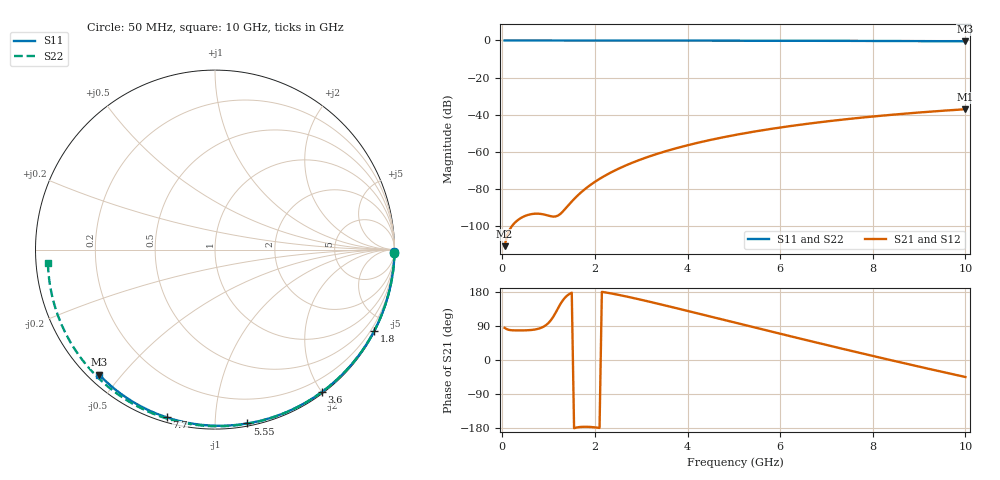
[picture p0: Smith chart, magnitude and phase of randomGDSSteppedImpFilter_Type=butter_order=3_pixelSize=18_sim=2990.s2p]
! freq	dB(S11)	phase(S11)	dB(S12)	phase(S12)
!  dB(S21)	phase(S21)	dB(S22)	phase(S22)
!S-par simulation data
#  GHz  S  DB  R 50
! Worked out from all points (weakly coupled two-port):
!   200 points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, 50 MHz to 10 GHz, reference 50 ohm
!   highest |S21| = -37.13 dB at 10 GHz (marker M1); lowest = -111.1 dB at 50 MHz (marker M2)
!   lowest |S11| = -0.4 dB at 10 GHz (marker M3), VSWR 38.80, Z = 1.53 - j21.8 ohm
!   |S11| at or under -10 dB: nowhere
!   |S22| runs from -0.6 to 0.0 dB; largest |S21 - S12| = 0
!   S11 on the Smith chart (normalised r, x): 50 MHz: open; 1.8 GHz: 0.04, -4.13; 3.6 GHz: 0.02, -2.00; 5.55 GHz: 0.02, -1.20; 7.7 GHz: 0.02, -0.75; 10 GHz: 0.03, -0.44
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0.05  -0.00 -0.8  -111.07 84.8  -111.07 84.8  -0.00 -1.0
0.45  -0.01 -6.9  -95.21 78.1  -95.21 78.1  -0.01 -8.8
0.85  -0.02 -13.0  -93.73 85.5  -93.73 85.5  -0.02 -16.5
1.3  -0.02 -19.8  -92.56 156.3  -92.56 156.3  -0.03 -25.1
1.75  -0.03 -26.5  -80.98 -176.2  -80.98 -176.2  -0.04 -33.6
1.8  -0.03 -27.2  -79.96 -176.1  -79.96 -176.1  -0.04 -34.5
1.95  -0.04 -29.4  -77.18 -177.1  -77.18 -177.1  -0.05 -37.3
2.1  -0.04 -31.6  -74.73 -179.3  -74.73 -179.3  -0.05 -40.1
2.3  -0.04 -34.6  -71.87 176.8  -71.87 176.8  -0.06 -43.8
2.5  -0.05 -37.5  -69.36 172.2  -69.36 172.2  -0.06 -47.5
2.9  -0.06 -43.3  -65.10 161.7  -65.10 161.7  -0.07 -54.8
3.4  -0.07 -50.4  -60.78 147.4  -60.78 147.4  -0.08 -63.7
3.6  -0.07 -53.2  -59.28 141.5  -59.28 141.5  -0.09 -67.3
4.3  -0.09 -62.9  -54.78 120.6  -54.78 120.6  -0.11 -79.4
5.05  -0.11 -72.9  -50.92 97.9  -50.92 97.9  -0.14 -92.1
5.55  -0.13 -79.4  -48.75 82.8  -48.75 82.8  -0.17 -100.4
6.1  -0.15 -86.5  -46.65 66.3  -46.65 66.3  -0.20 -109.5
6.7  -0.18 -94.0  -44.64 48.5  -44.64 48.5  -0.24 -119.3
7.7  -0.24 -106.1  -41.81 19.3  -41.81 19.3  -0.32 -135.5
8.35  -0.29 -113.8  -40.26 0.7  -40.26 0.7  -0.38 -146.3
9.2  -0.36 -123.6  -38.52 -23.1  -38.52 -23.1  -0.48 -160.9
10  -0.45 -132.8  -37.13 -44.9  -37.13 -44.9  -0.59 -175.4
